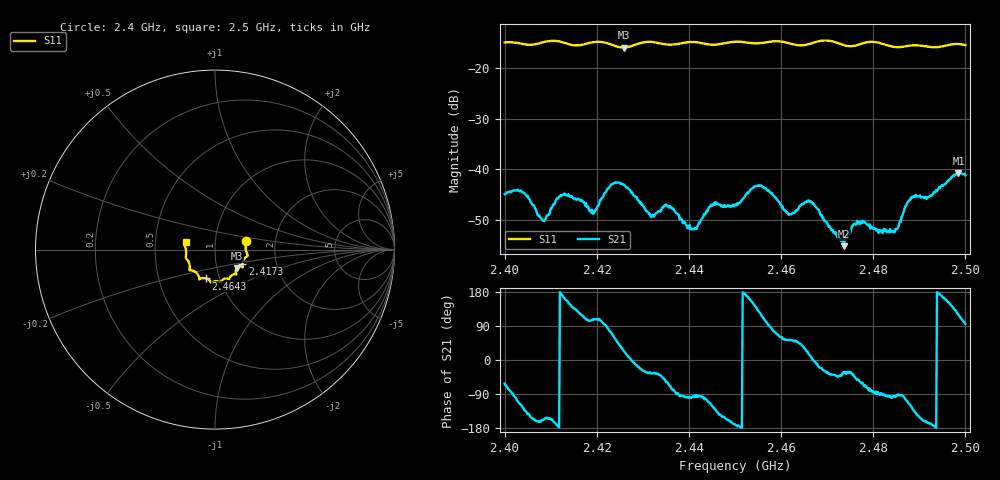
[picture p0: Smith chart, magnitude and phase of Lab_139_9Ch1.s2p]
# Hz S RI R 50
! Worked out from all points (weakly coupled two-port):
!   601 points, 2.4 GHz to 2.5 GHz, reference 50 ohm
!   highest |S21| = -40.76 dB at 2.4985 GHz (marker M1); lowest = -55.3 dB at 2.4737 GHz (marker M2)
!   lowest |S11| = -15.9 dB at 2.4258 GHz (marker M3), VSWR 1.38, Z = 62.3 - j13.2 ohm
!   |S11| at or under -10 dB: start of sweep to end of sweep
!   S12 and S22 are empty: the file has one direction only
!   S11 on the Smith chart (normalised r, x): 2.4 GHz: 1.41, +0.14; 2.4173 GHz: 1.34, -0.23; 2.4643 GHz: 0.86, -0.28; 2.5 GHz: 0.72, +0.06
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2.4e9  0.173 0.0494  0.00265 -0.00499  0 0  0 0
2.404e9  0.1718 0.0253  -0.00348 -0.00476  0 0  0 0
2.408333e9  0.1795 -0.0233  -0.00287 -0.0011  0 0  0 0
2.4125e9  0.1772 -0.0385  -0.0055 0.000788  0 0  0 0
2.416667e9  0.1529 -0.0745  -0.00244 0.00428  0 0  0 0
2.417333e9  0.1522 -0.0818  -0.00165 0.00433  0 0  0 0
2.419333e9  0.1538 -0.0959  -0.00111 0.00346  0 0  0 0
2.425833e9  0.1218 -0.1036  0.00642 0.00294  0 0  0 0
2.433333e9  0.1131 -0.137  0.00307 -0.00227  0 0  0 0
2.441167e9  0.0772 -0.1647  -0.000322 -0.00252  0 0  0 0
2.445167e9  0.0545 -0.1619  -0.00242 -0.00361  0 0  0 0
2.45e9  0.0294 -0.1809  -0.00439 -0.000775  0 0  0 0
2.455167e9  0.000565 -0.1769  -0.00425 0.0055  0 0  0 0
2.461667e9  -0.0281 -0.1747  0.00214 0.00278  0 0  0 0
2.464333e9  -0.05 -0.1607  0.00328 0.00292  0 0  0 0
2.466667e9  -0.0759 -0.1597  0.00469 0.000438  0 0  0 0
2.473667e9  -0.0951 -0.1396  0.00141 -0.000983  0 0  0 0
2.476167e9  -0.1182 -0.119  0.0019 -0.00208  0 0  0 0
2.483333e9  -0.1406 -0.0899  -0.000167 -0.00238  0 0  0 0
2.488333e9  -0.1609 -0.0491  -0.00283 -0.00429  0 0  0 0
2.4985e9  -0.1702 0.0343  -0.00448 0.00799  0 0  0 0
2.5e9  -0.1636 0.0428  -0.000807 0.00864  0 0  0 0
